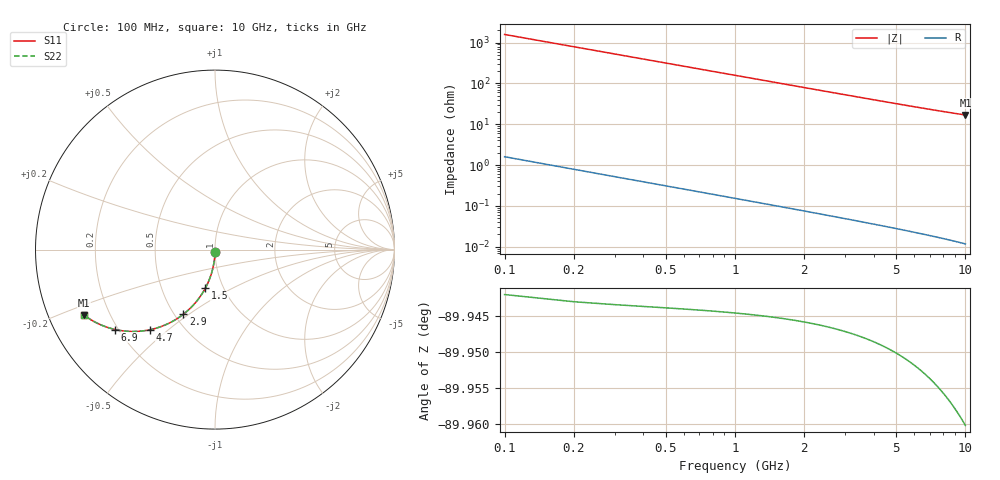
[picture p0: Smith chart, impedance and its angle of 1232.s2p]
# Hz S RI R 50.00
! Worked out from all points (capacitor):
!   100 points, 100 MHz to 10 GHz, reference 50 ohm
!   read as one part in shunt: C = 1.01 pF near 100 MHz
!   lowest |Z| = 16.9 ohm at 10 GHz (marker M1)
!   S11 on the Smith chart (normalised r, x): 100 MHz: 1.00, -0.03; 1.5 GHz: 0.82, -0.37; 2.9 GHz: 0.56, -0.48; 4.7 GHz: 0.33, -0.43; 6.9 GHz: 0.19, -0.34; 10 GHz: 0.11, -0.23
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1e8  -0.000104 -0.0151  0.9996 -0.0165  0.9996 -0.0165  -0.000104 -0.0151
2e8  -0.000867 -0.0302  0.9988 -0.033  0.9988 -0.033  -0.000867 -0.0302
3e8  -0.00213 -0.0452  0.9975 -0.0495  0.9975 -0.0495  -0.00213 -0.0452
4e8  -0.00388 -0.0602  0.9958 -0.0659  0.9958 -0.0659  -0.00388 -0.0602
5e8  -0.00613 -0.0751  0.9935 -0.0822  0.9935 -0.0822  -0.00613 -0.0751
6e8  -0.00885 -0.0899  0.9908 -0.0984  0.9908 -0.0984  -0.00885 -0.0899
7e8  -0.0121 -0.1045  0.9876 -0.1145  0.9876 -0.1145  -0.0121 -0.1045
9e8  -0.0198 -0.1333  0.9797 -0.1461  0.9797 -0.1461  -0.0198 -0.1333
1.2e9  -0.0348 -0.1749  0.9647 -0.1921  0.9647 -0.1921  -0.0348 -0.1749
1.5e9  -0.0535 -0.2144  0.9459 -0.2358  0.9459 -0.2358  -0.0535 -0.2144
1.8e9  -0.0754 -0.2512  0.9239 -0.2769  0.9239 -0.2769  -0.0754 -0.2512
2.3e9  -0.1178 -0.3059  0.8813 -0.3388  0.8813 -0.3388  -0.1178 -0.3059
2.9e9  -0.1757 -0.3597  0.8231 -0.4014  0.8231 -0.4014  -0.1757 -0.3597
3.4e9  -0.2272 -0.3945  0.7713 -0.4435  0.7713 -0.4435  -0.2272 -0.3945
4e9  -0.2902 -0.4249  0.7078 -0.4827  0.7078 -0.4827  -0.2902 -0.4249
4.7e9  -0.3622 -0.4464  0.6351 -0.5146  0.6351 -0.5146  -0.3622 -0.4464
5.1e9  -0.4016 -0.453  0.5953 -0.5271  0.5953 -0.5271  -0.4016 -0.453
5.9e9  -0.4751 -0.4559  0.5208 -0.542  0.5208 -0.542  -0.4751 -0.4559
6.7e9  -0.5406 -0.4484  0.4542 -0.5468  0.4542 -0.5468  -0.5406 -0.4484
6.9e9  -0.5557 -0.4452  0.4388 -0.5468  0.4388 -0.5468  -0.5557 -0.4452
8.4e9  -0.6531 -0.4115  0.3386 -0.5367  0.3386 -0.5367  -0.6531 -0.4115
1e10  -0.7305 -0.3642  0.2575 -0.5157  0.2575 -0.5157  -0.7305 -0.3642
